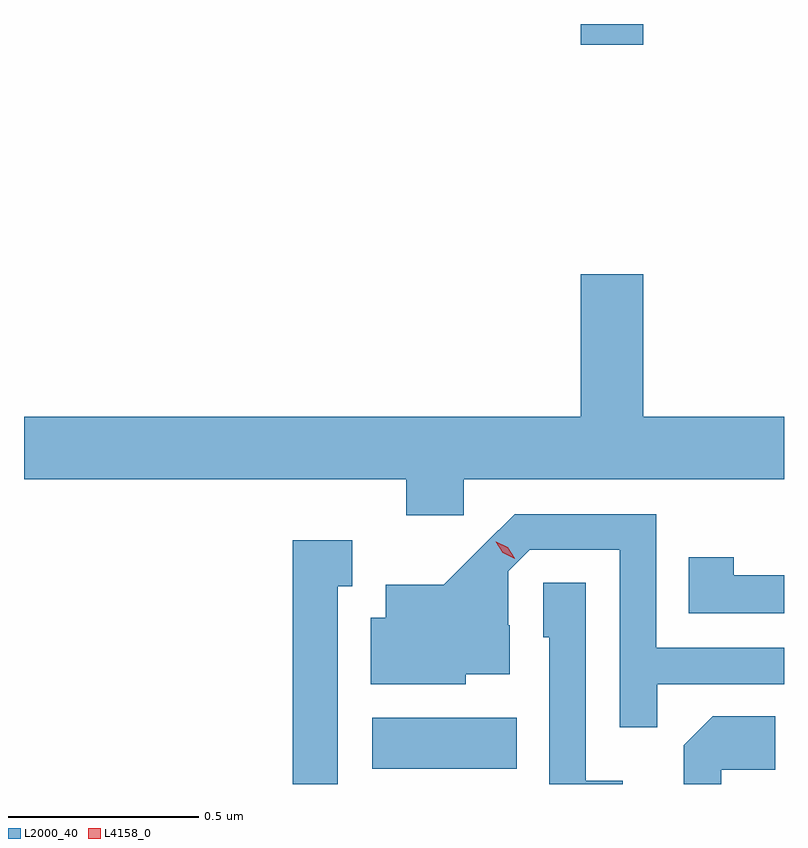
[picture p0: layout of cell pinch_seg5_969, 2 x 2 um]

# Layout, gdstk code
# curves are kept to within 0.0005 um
import gdstk
lib = gdstk.Library(unit=1e-6, precision=1e-09)
def R(c, l, rs):  # rectangles x0, y0, x1, y1
    for r in rs: c.add(gdstk.rectangle(r[:2], r[2:], *l))
def P(c, l, *ps):  # polygons
    for p in ps: c.add(gdstk.Polygon(p, *l))
L2000_40 = (2000, 40)
L4158_0 = (4158, 0)

pinch_seg5_969 = lib.new_cell('pinch_seg5_969')
R(pinch_seg5_969, L2000_40, [(715.908,894.626,716.288,894.76), (716.456,896.532,716.62,896.586)])
P(pinch_seg5_969, L2000_40, [(716.148,895.388),(716.991,895.388),(716.991,895.552),(716.62,895.552),(716.62,895.927),(716.456,895.927),(716.456,895.552),(714.991,895.552),(714.991,895.388),(715.997,895.388),(715.997,895.293),(716.148,895.293)],
  [(716.657,894.849),(716.991,894.849),(716.991,894.945),(716.655,894.945),(716.655,895.296),(716.282,895.296),(716.095,895.111),(715.943,895.111),(715.943,895.024),(715.904,895.024),(715.904,894.848),(716.154,894.848),(716.154,894.875),(716.269,894.875),(716.269,895.004),(716.265,895.004),(716.265,895.146),(716.322,895.203),(716.559,895.203),(716.559,894.736),(716.657,894.736)],
  [(715.816,895.107),(715.855,895.107),(715.855,895.228),(715.698,895.228),(715.698,894.586),(715.816,894.586)],
  [(716.991,895.136),(716.859,895.136),(716.859,895.183),(716.74,895.183),(716.74,895.035),(716.991,895.035)],
  [(716.566,894.595),(716.469,894.595),(716.469,895.115),(716.358,895.115),(716.358,894.972),(716.373,894.972),(716.373,894.586),(716.566,894.586)],
  [(716.826,894.624),(716.968,894.624),(716.968,894.764),(716.803,894.764),(716.727,894.688),(716.727,894.586),(716.826,894.586)])
P(pinch_seg5_969, L4158_0, [(716.282,895.179),(716.251,895.194),(716.233,895.224),(716.233,895.224),(716.234,895.224),(716.264,895.209),(716.282,895.18),(716.282,895.179)])

lib.write_gds('pinch_seg5_969.gds')
